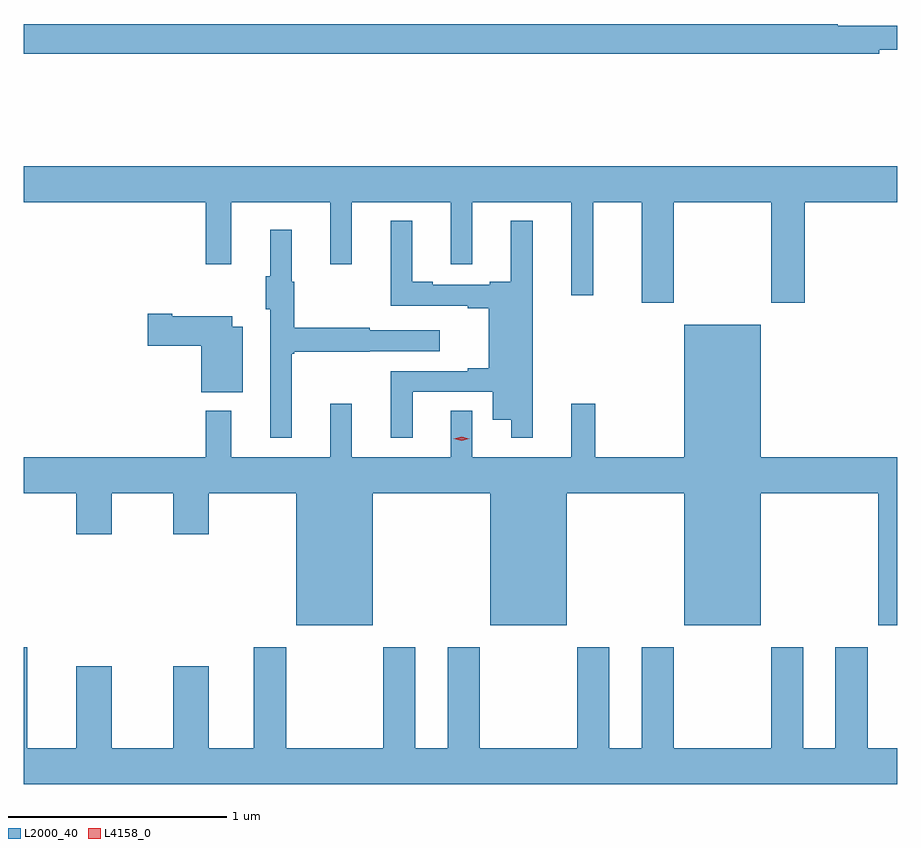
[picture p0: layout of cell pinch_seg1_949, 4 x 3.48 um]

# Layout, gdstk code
import gdstk
lib = gdstk.Library(unit=1e-6, precision=1e-09)
def P(c, l, *ps):  # polygons
    for p in ps: c.add(gdstk.Polygon(p, *l))
L2000_40 = (2000, 40)
L4158_0 = (4158, 0)

pinch_seg1_949 = lib.new_cell('pinch_seg1_949')
P(pinch_seg1_949, L2000_40, [(356.72,504.479),(356.802,504.479),(356.802,504.589),(356.53,504.589),(356.53,504.596),(352.802,504.596),(352.802,504.46),(356.72,504.46)],
  [(355.779,503.78),(356.224,503.78),(356.224,503.319),(356.379,503.319),(356.379,503.78),(356.802,503.78),(356.802,503.944),(352.802,503.944),(352.802,503.78),(353.635,503.78),(353.635,503.496),(353.753,503.496),(353.753,503.78),(354.206,503.78),(354.206,503.496),(354.305,503.496),(354.305,503.78),(354.758,503.78),(354.758,503.496),(354.856,503.496),(354.856,503.78),(355.31,503.78),(355.31,503.355),(355.41,503.355),(355.41,503.78),(355.631,503.78),(355.631,503.319),(355.779,503.319)],
  [(354.583,502.911),(354.95,502.911),(354.95,502.784),(355.034,502.784),(355.034,502.701),(355.133,502.701),(355.133,502.914),(355.132,502.914),(355.132,503.695),(355.031,503.695),(355.031,503.416),(354.935,503.416),(354.935,503.403),(354.676,503.403),(354.676,503.416),(354.581,503.416),(354.581,503.695),(354.482,503.695),(354.482,503.307),(354.836,503.307),(354.836,503.295),(354.932,503.295),(354.932,503.02),(354.836,503.02),(354.836,503.007),(354.482,503.007),(354.482,502.701),(354.583,502.701)],
  [(354.029,503.085),(354.04,503.085),(354.04,503.095),(354.386,503.095),(354.386,503.097),(354.706,503.097),(354.706,503.193),(354.386,503.193),(354.386,503.206),(354.04,503.206),(354.04,503.415),(354.029,503.415),(354.029,503.653),(353.93,503.653),(353.93,503.44),(353.911,503.44),(353.911,503.29),(353.931,503.29),(353.931,502.701),(354.029,502.701)],
  [(353.806,503.209),(353.758,503.209),(353.758,503.257),(353.482,503.257),(353.482,503.27),(353.37,503.27),(353.37,503.123),(353.615,503.123),(353.615,502.91),(353.806,502.91)],
  [(354.4,502.448),(354.938,502.448),(354.938,501.842),(355.288,501.842),(355.288,502.448),(355.826,502.448),(355.826,501.842),(356.176,501.842),(356.176,502.448),(356.714,502.448),(356.714,501.842),(356.802,501.842),(356.802,502.612),(356.176,502.612),(356.176,503.218),(355.826,503.218),(355.826,502.612),(355.42,502.612),(355.42,502.858),(355.31,502.858),(355.31,502.612),(354.855,502.612),(354.855,502.826),(354.758,502.826),(354.758,502.612),(354.304,502.612),(354.304,502.858),(354.206,502.858),(354.206,502.612),(353.753,502.612),(353.753,502.825),(353.635,502.825),(353.635,502.612),(352.802,502.612),(352.802,502.448),(353.042,502.448),(353.042,502.26),(353.206,502.26),(353.206,502.448),(353.486,502.448),(353.486,502.26),(353.65,502.26),(353.65,502.448),(354.05,502.448),(354.05,501.842),(354.4,501.842)],
  [(356.802,501.28),(356.667,501.28),(356.667,501.742),(356.519,501.742),(356.519,501.28),(356.371,501.28),(356.371,501.742),(356.224,501.742),(356.224,501.28),(355.779,501.28),(355.779,501.742),(355.631,501.742),(355.631,501.28),(355.483,501.28),(355.483,501.742),(355.336,501.742),(355.336,501.28),(354.891,501.28),(354.891,501.742),(354.743,501.742),(354.743,501.28),(354.595,501.28),(354.595,501.742),(354.448,501.742),(354.448,501.28),(354.003,501.28),(354.003,501.742),(353.855,501.742),(353.855,501.28),(353.65,501.28),(353.65,501.655),(353.486,501.655),(353.486,501.28),(353.206,501.28),(353.206,501.655),(353.042,501.655),(353.042,501.28),(352.819,501.28),(352.819,501.742),(352.802,501.742),(352.802,501.116),(356.802,501.116)])
P(pinch_seg1_949, L4158_0, [(354.807,502.687),(354.771,502.697),(354.771,502.697),(354.771,502.698),(354.807,502.707),(354.843,502.698),(354.843,502.697),(354.843,502.697)])

lib.write_gds('pinch_seg1_949.gds')
